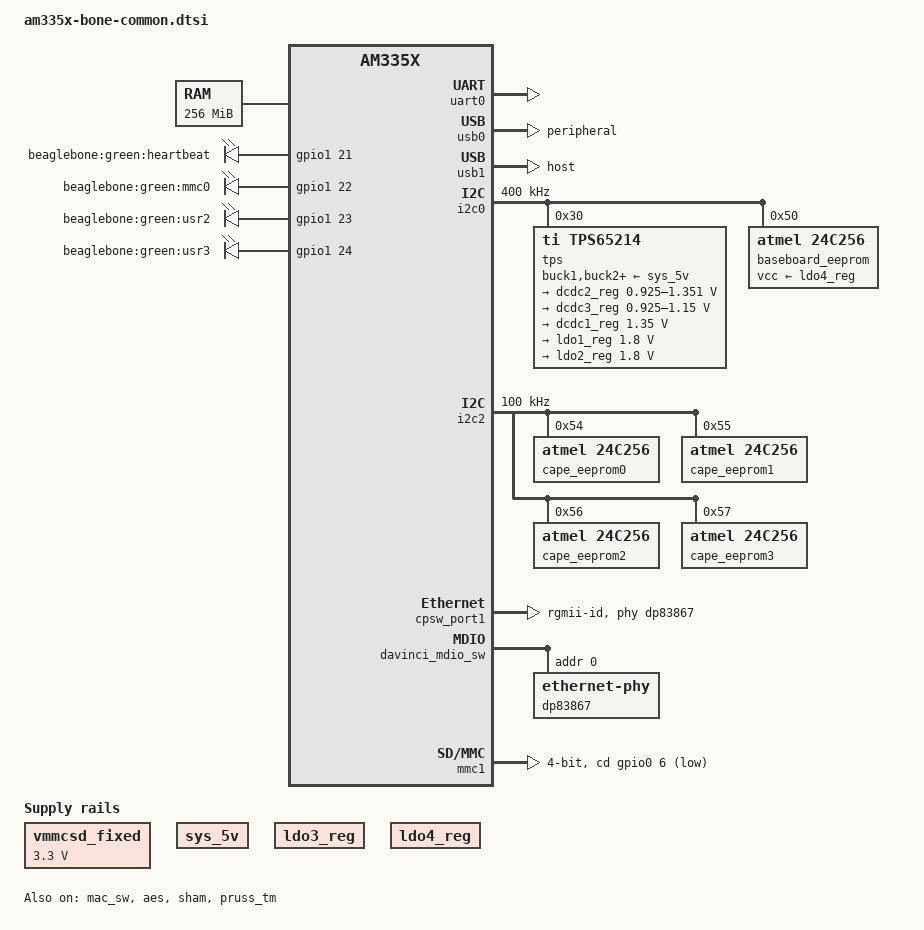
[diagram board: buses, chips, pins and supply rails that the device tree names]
// SPDX-License-Identifier: GPL-2.0-only
/*
 * Copyright (C) 2012 Texas Instruments Incorporated - https://www.ti.com/
 */

#include <dt-bindings/net/ti-dp83867.h>

/ {
	cpus {
		cpu@0 {
			cpu0-supply = <&dcdc2_reg>;
		};
	};

	memory@80000000 {
		device_type = "memory";
		reg = <0x80000000 0x10000000>; /* 256 MB */
	};

	chosen {
		stdout-path = &uart0;
	};

	leds {
		pinctrl-names = "default";
		pinctrl-0 = <&user_leds_s0>;

		compatible = "gpio-leds";

		led2 {
			label = "beaglebone:green:heartbeat";
			gpios = <&gpio1 21 GPIO_ACTIVE_HIGH>;
			linux,default-trigger = "heartbeat";
			default-state = "off";
		};

		led3 {
			label = "beaglebone:green:mmc0";
			gpios = <&gpio1 22 GPIO_ACTIVE_HIGH>;
			linux,default-trigger = "mmc0";
			default-state = "off";
		};

		led4 {
			label = "beaglebone:green:usr2";
			gpios = <&gpio1 23 GPIO_ACTIVE_HIGH>;
			linux,default-trigger = "cpu0";
			default-state = "off";
		};

		led5 {
			label = "beaglebone:green:usr3";
			gpios = <&gpio1 24 GPIO_ACTIVE_HIGH>;
			linux,default-trigger = "mmc1";
			default-state = "off";
		};
	};

	vmmcsd_fixed: fixedregulator0 {
		compatible = "regulator-fixed";
		regulator-name = "vmmcsd_fixed";
		regulator-min-microvolt = <3300000>;
		regulator-max-microvolt = <3300000>;
	};

	sys_5v: fixedregulator1 {
		compatible = "regulator-fixed";
		regulator-name = "sys_5v";
		regulator-always-on;
	};

	ldo3_reg: fixedregulator2 {
		compatible = "regulator-fixed";
		regulator-name = "vdd_1v8";
		regulator-always-on;
	};

	ldo4_reg: fixedregulator3 {
		compatible = "regulator-fixed";
		regulator-name = "vdd_3v3a";
		regulator-always-on;
	};
};

&am33xx_pinmux {
	pinctrl-names = "default";
	pinctrl-0 = <&clkout2_pin>;

	user_leds_s0: user-leds-s0-pins {
		pinctrl-single,pins = <
			AM33XX_PADCONF(AM335X_PIN_GPMC_A5, PIN_OUTPUT_PULLDOWN, MUX_MODE7)	/* gpmc_a5.gpio1_21 */
			AM33XX_PADCONF(AM335X_PIN_GPMC_A6, PIN_OUTPUT_PULLUP, MUX_MODE7)	/* gpmc_a6.gpio1_22 */
			AM33XX_PADCONF(AM335X_PIN_GPMC_A7, PIN_OUTPUT_PULLDOWN, MUX_MODE7)	/* gpmc_a7.gpio1_23 */
			AM33XX_PADCONF(AM335X_PIN_GPMC_A8, PIN_OUTPUT_PULLUP, MUX_MODE7)	/* gpmc_a8.gpio1_24 */
		>;
	};

	i2c0_pins: i2c0-pins {
		pinctrl-single,pins = <
			AM33XX_PADCONF(AM335X_PIN_I2C0_SDA, PIN_INPUT_PULLUP, MUX_MODE0)	/* i2c0_sda.i2c0_sda */
			AM33XX_PADCONF(AM335X_PIN_I2C0_SCL, PIN_INPUT_PULLUP, MUX_MODE0)	/* i2c0_scl.i2c0_scl */
		>;
	};

	i2c2_pins: i2c2-pins {
		pinctrl-single,pins = <
			AM33XX_PADCONF(AM335X_PIN_UART1_CTSN, PIN_INPUT_PULLUP, MUX_MODE3)	/* uart1_ctsn.i2c2_sda */
			AM33XX_PADCONF(AM335X_PIN_UART1_RTSN, PIN_INPUT_PULLUP, MUX_MODE3)	/* uart1_rtsn.i2c2_scl */
		>;
	};

	uart0_pins: uart0-pins {
		pinctrl-single,pins = <
			AM33XX_PADCONF(AM335X_PIN_UART0_RXD, PIN_INPUT_PULLUP, MUX_MODE0)
			AM33XX_PADCONF(AM335X_PIN_UART0_TXD, PIN_OUTPUT_PULLDOWN, MUX_MODE0)
		>;
	};

	clkout2_pin: clkout2-pins {
		pinctrl-single,pins = <
			AM33XX_PADCONF(AM335X_PIN_XDMA_EVENT_INTR1, PIN_OUTPUT_PULLDOWN, MUX_MODE3)	/* xdma_event_intr1.clkout2 */
		>;
	};

#if 0
	cpsw_default: cpsw-default-pins {
		pinctrl-single,pins = <
			/* Slave 1 */
			AM33XX_PADCONF(AM335X_PIN_MII1_RX_ER, PIN_INPUT_PULLUP, MUX_MODE0)
			AM33XX_PADCONF(AM335X_PIN_MII1_TX_EN, PIN_OUTPUT_PULLDOWN, MUX_MODE0)
			AM33XX_PADCONF(AM335X_PIN_MII1_RX_DV, PIN_INPUT_PULLUP, MUX_MODE0)
			AM33XX_PADCONF(AM335X_PIN_MII1_TXD3, PIN_OUTPUT_PULLDOWN, MUX_MODE0)
			AM33XX_PADCONF(AM335X_PIN_MII1_TXD2, PIN_OUTPUT_PULLDOWN, MUX_MODE0)
			AM33XX_PADCONF(AM335X_PIN_MII1_TXD1, PIN_OUTPUT_PULLDOWN, MUX_MODE0)
			AM33XX_PADCONF(AM335X_PIN_MII1_TXD0, PIN_OUTPUT_PULLDOWN, MUX_MODE0)
			AM33XX_PADCONF(AM335X_PIN_MII1_TX_CLK, PIN_INPUT_PULLUP, MUX_MODE0)
			AM33XX_PADCONF(AM335X_PIN_MII1_RX_CLK, PIN_INPUT_PULLUP, MUX_MODE0)
			AM33XX_PADCONF(AM335X_PIN_MII1_RXD3, PIN_INPUT_PULLUP, MUX_MODE0)
			AM33XX_PADCONF(AM335X_PIN_MII1_RXD2, PIN_INPUT_PULLUP, MUX_MODE0)
			AM33XX_PADCONF(AM335X_PIN_MII1_RXD1, PIN_INPUT_PULLUP, MUX_MODE0)
			AM33XX_PADCONF(AM335X_PIN_MII1_RXD0, PIN_INPUT_PULLUP, MUX_MODE0)
		>;
	};

	cpsw_sleep: cpsw-sleep-pins {
		pinctrl-single,pins = <
			/* Slave 1 reset value */
			AM33XX_PADCONF(AM335X_PIN_MII1_RX_ER, PIN_INPUT_PULLDOWN, MUX_MODE7)
			AM33XX_PADCONF(AM335X_PIN_MII1_TX_EN, PIN_INPUT_PULLDOWN, MUX_MODE7)
			AM33XX_PADCONF(AM335X_PIN_MII1_RX_DV, PIN_INPUT_PULLDOWN, MUX_MODE7)
			AM33XX_PADCONF(AM335X_PIN_MII1_TXD3, PIN_INPUT_PULLDOWN, MUX_MODE7)
			AM33XX_PADCONF(AM335X_PIN_MII1_TXD2, PIN_INPUT_PULLDOWN, MUX_MODE7)
			AM33XX_PADCONF(AM335X_PIN_MII1_TXD1, PIN_INPUT_PULLDOWN, MUX_MODE7)
			AM33XX_PADCONF(AM335X_PIN_MII1_TXD0, PIN_INPUT_PULLDOWN, MUX_MODE7)
			AM33XX_PADCONF(AM335X_PIN_MII1_TX_CLK, PIN_INPUT_PULLDOWN, MUX_MODE7)
			AM33XX_PADCONF(AM335X_PIN_MII1_RX_CLK, PIN_INPUT_PULLDOWN, MUX_MODE7)
			AM33XX_PADCONF(AM335X_PIN_MII1_RXD3, PIN_INPUT_PULLDOWN, MUX_MODE7)
			AM33XX_PADCONF(AM335X_PIN_MII1_RXD2, PIN_INPUT_PULLDOWN, MUX_MODE7)
			AM33XX_PADCONF(AM335X_PIN_MII1_RXD1, PIN_INPUT_PULLDOWN, MUX_MODE7)
			AM33XX_PADCONF(AM335X_PIN_MII1_RXD0, PIN_INPUT_PULLDOWN, MUX_MODE7)
		>;
	};
#else
	cpsw_default: cpsw-default-pins {
		pinctrl-single,pins = <
			AM33XX_PADCONF(AM335X_PIN_MII1_TX_EN, PIN_OUTPUT_PULLDOWN, MUX_MODE2)	/* mii1_txen.rgmii1_tctl */
			AM33XX_PADCONF(AM335X_PIN_MII1_RX_DV, PIN_INPUT_PULLDOWN, MUX_MODE2)	/* mii1_rxdv.rgmii1_rctl */
			AM33XX_PADCONF(AM335X_PIN_MII1_TX_CLK, PIN_OUTPUT_PULLDOWN, MUX_MODE2)	/* mii1_txclk.rgmii1_tclk */
			AM33XX_PADCONF(AM335X_PIN_MII1_RX_CLK, PIN_INPUT_PULLDOWN, MUX_MODE2)	/* mii1_rxclk.rgmii1_rclk */
			AM33XX_PADCONF(AM335X_PIN_MII1_TXD0, PIN_OUTPUT_PULLDOWN, MUX_MODE2)	/* mii1_txd0.rgmii1_td0 */
			AM33XX_PADCONF(AM335X_PIN_MII1_TXD1, PIN_OUTPUT_PULLDOWN, MUX_MODE2)	/* mii1_txd1.rgmii1_td1 */
			AM33XX_PADCONF(AM335X_PIN_MII1_TXD2, PIN_OUTPUT_PULLDOWN, MUX_MODE2)	/* mii1_txd2.rgmii1_td2 */
			AM33XX_PADCONF(AM335X_PIN_MII1_TXD3, PIN_OUTPUT_PULLDOWN, MUX_MODE2)	/* mii1_txd3.rgmii1_td3 */
			AM33XX_PADCONF(AM335X_PIN_MII1_RXD0, PIN_INPUT_PULLDOWN, MUX_MODE2)	/* mii1_rxd0.rgmii1_rd0 */
			AM33XX_PADCONF(AM335X_PIN_MII1_RXD1, PIN_INPUT_PULLDOWN, MUX_MODE2)	/* mii1_rxd1.rgmii1_rd1 */
			AM33XX_PADCONF(AM335X_PIN_MII1_RXD2, PIN_INPUT_PULLDOWN, MUX_MODE2)	/* mii1_rxd2.rgmii1_rd2 */
			AM33XX_PADCONF(AM335X_PIN_MII1_RXD3, PIN_INPUT_PULLDOWN, MUX_MODE2)	/* mii1_rxd3.rgmii1_rd3 */
		>;
	};

	cpsw_sleep: cpsw-sleep-pins {
		pinctrl-single,pins = <
			AM33XX_PADCONF(AM335X_PIN_MII1_TX_EN, PIN_INPUT_PULLDOWN, MUX_MODE7)
			AM33XX_PADCONF(AM335X_PIN_MII1_RX_DV, PIN_INPUT_PULLDOWN, MUX_MODE7)
			AM33XX_PADCONF(AM335X_PIN_MII1_TX_CLK, PIN_INPUT_PULLDOWN, MUX_MODE7)
			AM33XX_PADCONF(AM335X_PIN_MII1_RX_CLK, PIN_INPUT_PULLDOWN, MUX_MODE7)
			AM33XX_PADCONF(AM335X_PIN_MII1_TXD0, PIN_INPUT_PULLDOWN, MUX_MODE7)
			AM33XX_PADCONF(AM335X_PIN_MII1_TXD1, PIN_INPUT_PULLDOWN, MUX_MODE7)
			AM33XX_PADCONF(AM335X_PIN_MII1_TXD2, PIN_INPUT_PULLDOWN, MUX_MODE7)
			AM33XX_PADCONF(AM335X_PIN_MII1_TXD3, PIN_INPUT_PULLDOWN, MUX_MODE7)
			AM33XX_PADCONF(AM335X_PIN_MII1_RXD0, PIN_INPUT_PULLDOWN, MUX_MODE7)
			AM33XX_PADCONF(AM335X_PIN_MII1_RXD1, PIN_INPUT_PULLDOWN, MUX_MODE7)
			AM33XX_PADCONF(AM335X_PIN_MII1_RXD2, PIN_INPUT_PULLDOWN, MUX_MODE7)
			AM33XX_PADCONF(AM335X_PIN_MII1_RXD3, PIN_INPUT_PULLDOWN, MUX_MODE7)
		>;
	};
#endif

	davinci_mdio_default: davinci-mdio-default-pins {
		pinctrl-single,pins = <
			/* MDIO */
			AM33XX_PADCONF(AM335X_PIN_MDIO, PIN_INPUT_PULLUP | SLEWCTRL_FAST, MUX_MODE0)
			AM33XX_PADCONF(AM335X_PIN_MDC, PIN_OUTPUT_PULLUP, MUX_MODE0)
			/* Added to support GPIO controlled PHY reset */
			AM33XX_PADCONF(AM335X_PIN_UART0_CTSN, PIN_OUTPUT_PULLUP, MUX_MODE7)
		>;
	};

	davinci_mdio_sleep: davinci-mdio-sleep-pins {
		pinctrl-single,pins = <
			/* MDIO reset value */
			AM33XX_PADCONF(AM335X_PIN_MDIO, PIN_INPUT_PULLDOWN, MUX_MODE7)
			AM33XX_PADCONF(AM335X_PIN_MDC, PIN_INPUT_PULLDOWN, MUX_MODE7)
			/* Added to support GPIO controlled PHY reset */
			AM33XX_PADCONF(AM335X_PIN_UART0_CTSN, PIN_INPUT_PULLDOWN, MUX_MODE7)
		>;
	};

	mmc1_pins: mmc1-pins {
		pinctrl-single,pins = <
			AM33XX_PADCONF(AM335X_PIN_SPI0_CS1, PIN_INPUT, MUX_MODE7)		/* spio0_cs1.gpio0_6 */
			AM33XX_PADCONF(AM335X_PIN_MMC0_DAT0, PIN_INPUT_PULLUP, MUX_MODE0)
			AM33XX_PADCONF(AM335X_PIN_MMC0_DAT1, PIN_INPUT_PULLUP, MUX_MODE0)
			AM33XX_PADCONF(AM335X_PIN_MMC0_DAT2, PIN_INPUT_PULLUP, MUX_MODE0)
			AM33XX_PADCONF(AM335X_PIN_MMC0_DAT3, PIN_INPUT_PULLUP, MUX_MODE0)
			AM33XX_PADCONF(AM335X_PIN_MMC0_CMD, PIN_INPUT_PULLUP, MUX_MODE0)
			AM33XX_PADCONF(AM335X_PIN_MMC0_CLK, PIN_INPUT_PULLUP, MUX_MODE0)
		>;
	};

	emmc_pins: emmc-pins {
		pinctrl-single,pins = <
			AM33XX_PADCONF(AM335X_PIN_GPMC_CSN1, PIN_INPUT_PULLUP, MUX_MODE2) /* gpmc_csn1.mmc1_clk */
			AM33XX_PADCONF(AM335X_PIN_GPMC_CSN2, PIN_INPUT_PULLUP, MUX_MODE2) /* gpmc_csn2.mmc1_cmd */
			AM33XX_PADCONF(AM335X_PIN_GPMC_AD0, PIN_INPUT_PULLUP, MUX_MODE1) /* gpmc_ad0.mmc1_dat0 */
			AM33XX_PADCONF(AM335X_PIN_GPMC_AD1, PIN_INPUT_PULLUP, MUX_MODE1) /* gpmc_ad1.mmc1_dat1 */
			AM33XX_PADCONF(AM335X_PIN_GPMC_AD2, PIN_INPUT_PULLUP, MUX_MODE1) /* gpmc_ad2.mmc1_dat2 */
			AM33XX_PADCONF(AM335X_PIN_GPMC_AD3, PIN_INPUT_PULLUP, MUX_MODE1) /* gpmc_ad3.mmc1_dat3 */
			AM33XX_PADCONF(AM335X_PIN_GPMC_AD4, PIN_INPUT_PULLUP, MUX_MODE1) /* gpmc_ad4.mmc1_dat4 */
			AM33XX_PADCONF(AM335X_PIN_GPMC_AD5, PIN_INPUT_PULLUP, MUX_MODE1) /* gpmc_ad5.mmc1_dat5 */
			AM33XX_PADCONF(AM335X_PIN_GPMC_AD6, PIN_INPUT_PULLUP, MUX_MODE1) /* gpmc_ad6.mmc1_dat6 */
			AM33XX_PADCONF(AM335X_PIN_GPMC_AD7, PIN_INPUT_PULLUP, MUX_MODE1) /* gpmc_ad7.mmc1_dat7 */
		>;
	};

	pmic_irq_pins_default: pmic-irq-default-pins {
		pinctrl-single,pins = <
			AM33XX_IOPAD(AM335X_PIN_NNMI, PIN_INPUT_PULLUP | MUX_MODE0) /* (B18) nNMI.nNMI */
		>;
	};
};

&uart0 {
	pinctrl-names = "default";
	pinctrl-0 = <&uart0_pins>;

	status = "okay";
};

&usb0 {
	dr_mode = "peripheral";
	interrupts-extended = <&intc 18 &tps 0>;
	interrupt-names = "mc", "vbus";
};

&usb1 {
	dr_mode = "host";
};

&i2c0 {
	pinctrl-names = "default";
	pinctrl-0 = <&i2c0_pins>;

	status = "okay";
	clock-frequency = <400000>;

	tps: tps65214@30 {
		compatible = "ti,tps65214";
		reg = <0x30>;
		buck1-supply = <&sys_5v>;
		buck2-supply = <&sys_5v>;
		buck3-supply = <&sys_5v>;
		ldo1-supply = <&sys_5v>;
		ldo2-supply = <&sys_5v>;

		pinctrl-0 = <&pmic_irq_pins_default>;
		interrupt-controller;
		#interrupt-cells = <1>;
		interrupts = <7>; /* NMI */
		interrupt-parent = <&intc>;

		regulators {
			dcdc2_reg: buck1 {
				/* MPU: 0.912V to 1.378V */
				regulator-name = "vdd_mpu";
				regulator-min-microvolt = <925000>;
				regulator-max-microvolt = <1351500>;
				regulator-boot-on;
				regulator-always-on;
			};

			dcdc3_reg: buck2 {
				/* CORE: 0.912V to 1.144V */
				regulator-name = "vdd_core";
				regulator-min-microvolt = <925000>;
				regulator-max-microvolt = <1150000>;
				regulator-boot-on;
				regulator-always-on;
			};

			dcdc1_reg: buck3 {
				/* DDR3L: 1.283V to 1.45V */
				regulator-name = "vdds_dpr";
				regulator-min-microvolt = <1350000>;
				regulator-max-microvolt = <1350000>;
				regulator-always-on;
			};

			ldo1_reg: ldo1 {
				regulator-name = "VDD_1V8_ANALOG";
				regulator-min-microvolt = <1800000>;
				regulator-max-microvolt = <1800000>;
				regulator-boot-on;
				regulator-always-on;
			};

			ldo2_reg: ldo2 {
				regulator-name = "VDD_1V8_VDDS";
				regulator-min-microvolt = <1800000>;
				regulator-max-microvolt = <1800000>;
				regulator-boot-on;
				regulator-always-on;
			};
		};
	};

	baseboard_eeprom: baseboard_eeprom@50 {
		compatible = "atmel,24c256";
		reg = <0x50>;
		vcc-supply = <&ldo4_reg>;

		nvmem-layout {
			compatible = "fixed-layout";
			#address-cells = <1>;
			#size-cells = <1>;

			baseboard_data: baseboard_data@0 {
				reg = <0 0x100>;
			};
		};
	};
};

&i2c2 {
	pinctrl-names = "default";
	pinctrl-0 = <&i2c2_pins>;

	status = "okay";
	clock-frequency = <100000>;

	cape_eeprom0: cape_eeprom0@54 {
		compatible = "atmel,24c256";
		reg = <0x54>;

		nvmem-layout {
			compatible = "fixed-layout";
			#address-cells = <1>;
			#size-cells = <1>;

			cape0_data: cape_data@0 {
				reg = <0 0x100>;
			};
		};
	};

	cape_eeprom1: cape_eeprom1@55 {
		compatible = "atmel,24c256";
		reg = <0x55>;

		nvmem-layout {
			compatible = "fixed-layout";
			#address-cells = <1>;
			#size-cells = <1>;

			cape1_data: cape_data@0 {
				reg = <0 0x100>;
			};
		};
	};

	cape_eeprom2: cape_eeprom2@56 {
		compatible = "atmel,24c256";
		reg = <0x56>;

		nvmem-layout {
			compatible = "fixed-layout";
			#address-cells = <1>;
			#size-cells = <1>;

			cape2_data: cape_data@0 {
				reg = <0 0x100>;
			};
		};
	};

	cape_eeprom3: cape_eeprom3@57 {
		compatible = "atmel,24c256";
		reg = <0x57>;

		nvmem-layout {
			compatible = "fixed-layout";
			#address-cells = <1>;
			#size-cells = <1>;

			cape3_data: cape_data@0 {
				reg = <0 0x100>;
			};
		};
	};
};

&cpsw_port1 {
#if 0
	phy-handle = <&ethphy0>;
	phy-mode = "mii";
	ti,dual-emac-pvid = <1>;
#else
	phy-handle = <&dp83867>;
	phy-mode = "rgmii-id";
	ti,dual-emac-pvid = <1>;
#endif
};

&cpsw_port2 {
	status = "disabled";
};

&mac_sw {
	pinctrl-names = "default", "sleep";
	pinctrl-0 = <&cpsw_default>;
	pinctrl-1 = <&cpsw_sleep>;
	status = "okay";
};

&davinci_mdio_sw {
	pinctrl-names = "default", "sleep";
	pinctrl-0 = <&davinci_mdio_default>;
	pinctrl-1 = <&davinci_mdio_sleep>;

#if 0
	ethphy0: ethernet-phy@0 {
		reg = <0>;
		/* Support GPIO reset on revision C3 boards */
		reset-gpios = <&gpio1 8 GPIO_ACTIVE_LOW>;
		reset-assert-us = <300>;
		reset-deassert-us = <13000>;
	};
#else
	dp83867: ethernet-phy@0 {
		reg = <0>;
		ti,rx-internal-delay = <DP83867_RGMIIDCTL_2_50_NS>;
		ti,tx-internal-delay = <DP83867_RGMIIDCTL_2_50_NS>;
		ti,fifo-depth = <DP83867_PHYCR_FIFO_DEPTH_8_B_NIB>;
		ti,min-output-impedance;
		ti,dp83867-rxctrl-strap-quirk;
	};
#endif
};

&mmc1 {
	status = "okay";
	bus-width = <0x4>;
	pinctrl-names = "default";
	pinctrl-0 = <&mmc1_pins>;
	cd-gpios = <&gpio0 6 GPIO_ACTIVE_LOW>;
};

&aes {
	status = "okay";
};

&sham {
	status = "okay";
};

&rtc {
	clocks = <&clk_32768_ck>, <&clk_24mhz_clkctrl AM3_CLK_24MHZ_CLKDIV32K_CLKCTRL 0>;
	clock-names = "ext-clk", "int-clk";
	system-power-controller;
};

&pruss_tm {
	status = "okay";
};

&wkup_m3_ipc {
	firmware-name = "am335x-bone-scale-data.bin";
};
